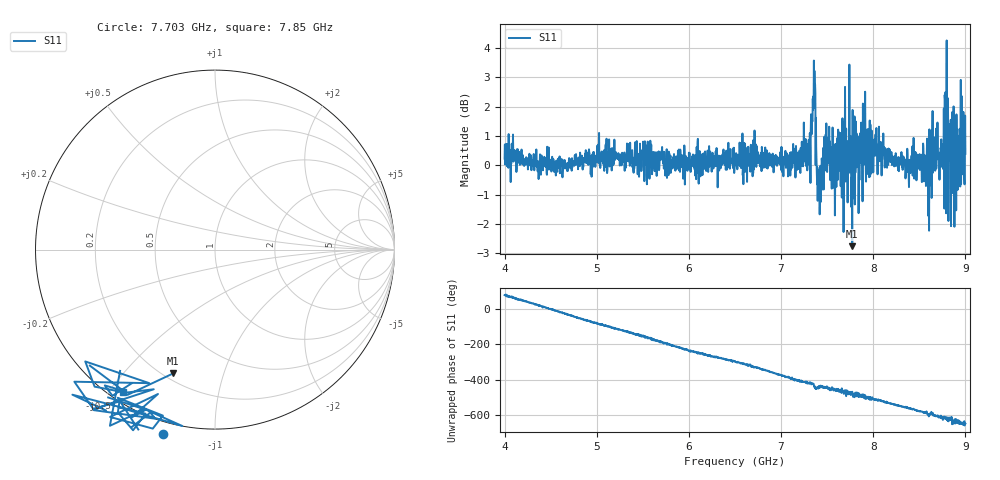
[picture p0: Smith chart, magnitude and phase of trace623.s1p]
! Created with skrf 1.8.0 (http://scikit-rf.org).
# Hz S RI R 50.0
!freq ReS11 ImS11
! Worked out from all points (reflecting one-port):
!   1601 points, 4 GHz to 9 GHz, reference 50 ohm
!   lowest |S11| = -2.8 dB at 7.772 GHz (marker M1), VSWR 6.36, Z = 11.8 - j34.5 ohm
!   phase of S11 starts at 77 deg and turns -726 deg over the sweep
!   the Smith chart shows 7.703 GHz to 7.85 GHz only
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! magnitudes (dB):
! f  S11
! 4 GHz  0.2
! 4.625 GHz  -0.3
! 5.25 GHz  0.0
! 5.875 GHz  -0.1
! 6.5 GHz  0.3
! 7.125 GHz  0.3
! 7.294 GHz  0.0
! 7.347 GHz  1.9
! 7.369 GHz  2.8
! 7.397 GHz  -1.2
! 7.412 GHz  -0.6
! 7.503 GHz  0.4
! 7.591 GHz  0.7
! 7.688 GHz  0.7
! 7.75 GHz  -0.2
! 7.772 GHz  -2.8
! 7.8 GHz  -1.3
! 7.928 GHz  1.0
! 8.375 GHz  -0.2
! 8.522 GHz  0.3
! 8.581 GHz  0.3
! 8.634 GHz  -1.1
! 8.738 GHz  0.9
! 8.8 GHz  0.7
! 8.841 GHz  1.6
! 8.919 GHz  0.0
! 8.956 GHz  0.6
! 9 GHz  0.4
